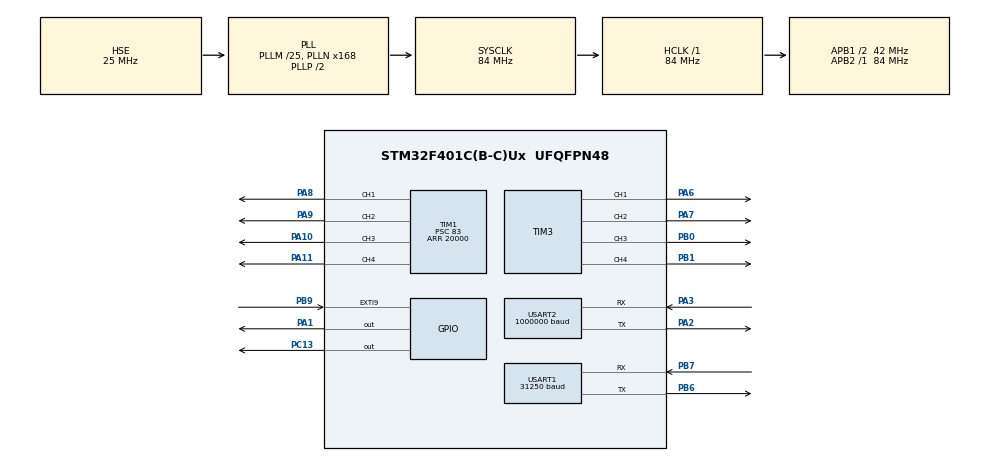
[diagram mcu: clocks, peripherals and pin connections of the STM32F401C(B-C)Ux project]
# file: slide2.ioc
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Mcu.Family=STM32F4
Mcu.Name=STM32F401C(B-C)Ux
Mcu.Package=UFQFPN48
NVIC.EXTI9_5_IRQn=true\:1\:0\:true\:false\:false\:true\:false
NVIC.PriorityGroup=NVIC_PRIORITYGROUP_4
NVIC.USART1_IRQn=true\:0\:0\:false\:false\:false\:true\:false
PA1.Signal=GPIO_Output
PA10.Signal=S_TIM1_CH3
PA11.Signal=S_TIM1_CH4
PA2.Mode=Asynchronous
PA2.Signal=USART2_TX
PA3.Mode=Asynchronous
PA3.Signal=USART2_RX
PA6.GPIO_ModeDefaultPP=GPIO_MODE_AF_PP
PA6.Signal=S_TIM3_CH1
PA7.GPIO_ModeDefaultPP=GPIO_MODE_AF_PP
PA7.Signal=S_TIM3_CH2
PA8.Signal=S_TIM1_CH1
PA9.Signal=S_TIM1_CH2
PB0.GPIO_ModeDefaultPP=GPIO_MODE_AF_PP
PB0.Signal=S_TIM3_CH3
PB1.GPIO_ModeDefaultPP=GPIO_MODE_AF_PP
PB1.Signal=S_TIM3_CH4
PB6.Mode=Asynchronous
PB6.Signal=USART1_TX
PB7.Mode=Asynchronous
PB7.Signal=USART1_RX
PB9.GPIO_ModeDefaultEXTI=GPIO_MODE_IT_FALLING
PB9.GPIO_PuPd=GPIO_PULLUP
PB9.Signal=GPXTI9
PC13-ANTI_TAMP.Signal=GPIO_Output
PH0\ -\ OSC_IN.Mode=HSE-External-Oscillator
PH0\ -\ OSC_IN.Signal=RCC_OSC_IN
PH1\ -\ OSC_OUT.Mode=HSE-External-Oscillator
PH1\ -\ OSC_OUT.Signal=RCC_OSC_OUT
ProjectManager.HeapSize=0x200
ProjectManager.StackSize=0x400
ProjectManager.TargetToolchain=STM32CubeIDE
RCC.48MHZClocksFreq_Value=42000000
RCC.AHBFreq_Value=84000000
RCC.APB1CLKDivider=RCC_HCLK_DIV2
RCC.APB1Freq_Value=42000000
RCC.APB1TimFreq_Value=84000000
RCC.APB2Freq_Value=84000000
RCC.APB2TimFreq_Value=84000000
RCC.CortexFreq_Value=84000000
RCC.HCLKFreq_Value=84000000
RCC.HSE_VALUE=25000000
RCC.HSI_VALUE=16000000
RCC.LSE_VALUE=32768
RCC.PLLM=25
RCC.PLLN=168
RCC.PLLSourceVirtual=RCC_PLLSOURCE_HSE
RCC.SYSCLKFreq_VALUE=84000000
RCC.SYSCLKSource=RCC_SYSCLKSOURCE_PLLCLK
RCC.VCOOutputFreq_Value=168000000
SH.S_TIM1_CH1.0=TIM1_CH1,PWM Generation1 CH1
SH.S_TIM1_CH2.0=TIM1_CH2,PWM Generation2 CH2
SH.S_TIM1_CH3.0=TIM1_CH3,PWM Generation3 CH3
SH.S_TIM1_CH4.0=TIM1_CH4,PWM Generation4 CH4
SH.S_TIM3_CH1.0=TIM3_CH1,PWM Generation1 CH1
SH.S_TIM3_CH2.0=TIM3_CH2,PWM Generation2 CH2
SH.S_TIM3_CH3.0=TIM3_CH3,PWM Generation3 CH3
SH.S_TIM3_CH4.0=TIM3_CH4,PWM Generation4 CH4
TIM1.Channel-PWM\ Generation1\ CH1=TIM_CHANNEL_1
TIM1.Channel-PWM\ Generation2\ CH2=TIM_CHANNEL_2
TIM1.Channel-PWM\ Generation3\ CH3=TIM_CHANNEL_3
TIM1.Channel-PWM\ Generation4\ CH4=TIM_CHANNEL_4
TIM1.Period=20000
TIM1.Prescaler=83
TIM3.Channel-PWM\ Generation1\ CH1=TIM_CHANNEL_1
TIM3.Channel-PWM\ Generation2\ CH2=TIM_CHANNEL_2
TIM3.Channel-PWM\ Generation3\ CH3=TIM_CHANNEL_3
TIM3.Channel-PWM\ Generation4\ CH4=TIM_CHANNEL_4
USART1.BaudRate=31250
USART1.Mode=MODE_RX
USART1.VirtualMode=VM_ASYNC
USART2.BaudRate=1000000
USART2.VirtualMode=VM_ASYNC
VP_TIM1_VS_ClockSourceINT.Mode=Internal
board=custom

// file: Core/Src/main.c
/* USER CODE BEGIN Header */
/**
  ******************************************************************************
  * @file           : main.c
  * @brief          : Main program body
  ******************************************************************************
  * @attention
  *
  * Copyright (c) 2022 STMicroelectronics.
  * All rights reserved.
  *
  * This software is licensed under terms that can be found in the LICENSE file
  * in the root directory of this software component.
  * If no LICENSE file comes with this software, it is provided AS-IS.
  *
  ******************************************************************************
  */
/* USER CODE END Header */
#include "main.h"

/* USER CODE BEGIN Includes */
#include "tables.h"
/* USER CODE END Includes */

TIM_HandleTypeDef htim1;
TIM_HandleTypeDef htim3;

UART_HandleTypeDef huart2;

/* USER CODE BEGIN PV */

uint8_t calibrateMode = 0;
uint8_t AX12_TorqueStatus = 0;
uint16_t poweroff_timeout = 0;

#define NOTESTACK_LENGTH 128
uint8_t notestack[4][NOTESTACK_LENGTH] = {};
uint8_t nsp[4] = {0};

uint8_t lastnote[4]={72,82,72,82};

int8_t bend[4] = {0};

// units of 10ms
#define FAN_WARMUP_TIME 50
#define FAN_BOOST_SPEED 1200
uint16_t fan_target[4]={0};
uint8_t fan_warmup[4]={0};

/* USER CODE END PV */

void SystemClock_Config(void);
static void MX_GPIO_Init(void);
static void MX_USART2_UART_Init(void);
static void MX_TIM1_Init(void);
static void MX_TIM3_Init(void);
static void MX_USART1_UART_Init(void);

/* USER CODE BEGIN 0 */

void hang_error(){
  while (1){
    HAL_Delay(200);
    HAL_GPIO_TogglePin(GPIOC, GPIO_PIN_13);
  }
}

void flash(){
  for (uint8_t i=0;i<10;i++) {
    HAL_GPIO_TogglePin(GPIOC, GPIO_PIN_13);
    HAL_Delay(100);
  }
}

/*
  MIDI Channels are zero-indexed, uint8_t chan will be zero-indexed
  Whistles are indexed from 1, uint8_t n is 1 to 4
  AX12 IDs are 1 to 8, e.g. whistle 3 is servos 5 and 6
*/

#define set_valve_servo(n, x) \
  htim1.Instance->CCR ## n = (x)

void set_valve_open(uint8_t chan) {
  if (chan==0)      set_valve_servo(1, valve_open[0]);
  else if (chan==1) set_valve_servo(2, valve_open[1]);
  else if (chan==2) set_valve_servo(3, valve_open[2]);
  else if (chan==3) set_valve_servo(4, valve_open[3]);
}

void set_valve_closed(uint8_t chan) {
  if (chan==0)      set_valve_servo(1, valve_closed[0]);
  else if (chan==1) set_valve_servo(2, valve_closed[1]);
  else if (chan==2) set_valve_servo(3, valve_closed[2]);
  else if (chan==3) set_valve_servo(4, valve_closed[3]);
}

#define _set_fan_speed(n, x) \
  htim3.Instance->CCR ## n = 5000 - (x)

#define enable_fan_motors() \
    HAL_GPIO_WritePin(GPIOA, GPIO_PIN_1, GPIO_PIN_SET)

#define disable_fan_motors() \
    HAL_GPIO_WritePin(GPIOA, GPIO_PIN_1, GPIO_PIN_RESET)

void set_fan_speed(uint8_t n, uint16_t x){

  //*(&(htim3.Instance->CCR1) +4*n) = 5000 - x;

  enable_fan_motors();

  if (n==1)      _set_fan_speed(1, x);
  else if (n==2) _set_fan_speed(2, x);
  else if (n==3) _set_fan_speed(3, x);
  else if (n==4) _set_fan_speed(4, x);
}

void fan_speed_warmup( uint8_t n, uint16_t x ) {

  uint8_t a=n-1;

  if (fan_target[a]+300 < x && fan_warmup[a]>=FAN_WARMUP_TIME) {
	  fan_warmup[a]-=FAN_WARMUP_TIME/2;
  }

  fan_target[a] = x;

  if (fan_warmup[a] < FAN_WARMUP_TIME) {
    set_fan_speed(n, FAN_BOOST_SPEED);
  } else {
    set_fan_speed(n, x);
  }

}

#define AX12_Transmit(a) _AX12_Transmit( a, sizeof(a)-1 )

void _AX12_Transmit(uint8_t * data, uint8_t length){

  uint8_t sum=0;
  for (uint8_t i=2; i<length; i++){
    sum += data[i];
  }
  data[length] = ~sum;
  HAL_UART_Transmit(&huart2, data, length+1, 100);
  //HAL_UART_Transmit(&huart2, data, length+1, 100);
}

void AX12_TorqueEnable(){
  uint8_t torqueEnable[] = { 0xFF, 0xFF, 0xFE, 0x04, 0x03, 0x18, 0x01, 0 };
  AX12_Transmit( torqueEnable );
  AX12_TorqueStatus=1;
}
void AX12_TorqueDisable(){
  uint8_t torqueEnable[] = { 0xFF, 0xFF, 0xFE, 0x04, 0x03, 0x18, 0x00, 0 };
  AX12_Transmit( torqueEnable );
  AX12_TorqueStatus=0;
}

void AX12_SetSlidePos(uint8_t id, uint16_t position){

  if (position > 0x330 || position < 0x230) return;//hang_error();
  if (!AX12_TorqueStatus) AX12_TorqueEnable();

  uint16_t antipos = 0x3FF - position;

  uint8_t setPosition[] = { 0xFF, 0xFF, 0xFE,
      0x0A, // Length
      0x83, // instruction sync write
      0x1E, // param 1
      0x02, // length of data
      id+1,
      position & 0xFF,
      position >> 8,
      id,
      antipos & 0xFF,
      antipos >> 8,
      0
  };

  AX12_Transmit(setPosition);
}

void setPitch(uint8_t chan, uint8_t note){

  if (note<69 || note >=89) return;

  //lookup in table
  uint16_t x = (note-67)*TABLE_SCALE + bend[chan];

  AX12_SetSlidePos( chan*2 +1 , 0x230 + mainLut[chan][ x ].angle );
  fan_speed_warmup( chan+1, mainLut[chan][ x ].speed );

}

void whistlePitchBend(uint8_t chan, uint8_t pb) {
  bend[chan] = pb-64;
  if (nsp[chan]>0) {
    setPitch(chan, notestack[chan][nsp[chan]-1]);
  }
}

void whistleNoteOn(uint8_t chan, uint8_t note) {

  if (nsp[chan]>=NOTESTACK_LENGTH) return;

  //push
  notestack[chan][nsp[chan]++] = note;
  lastnote[chan]=note;

  set_valve_open(chan);

  setPitch(chan, note);
  poweroff_timeout = 0;

}

void whistleNoteOff(uint8_t chan, uint8_t note) {

  // if note in notestack, remove it

  for (int i=nsp[chan]-1; i>=0; i--) {
    if (notestack[chan][i]==note) {
      for (uint8_t j=i; j<nsp[chan]; j++) {
        notestack[chan][j] = notestack[chan][j+1];
      }
      nsp[chan]--;
      //break;
    }
  }

  if (nsp[chan]>0) {
    setPitch(chan, notestack[chan][nsp[chan]-1]);
  } else {
    set_valve_closed(chan);

    // if all notes off, start timeout
    if (nsp[0]==0 && nsp[1]==0 && nsp[2]==0 && nsp[3]==0) {
      poweroff_timeout = 1000;
    }
  }

}

int abs(int x){
  return  (x<0) ? -x : x ;
}
#define isPlaying(chan) (nsp[chan]>0)

void autoNoteOn(uint8_t note, uint8_t vel) {
  if (note<69 || note >=89) return;

  uint8_t target =0;
  uint8_t lowestCost = 255;

  for (uint8_t chan=0; chan<4; chan++) {
    uint8_t cost = abs(lastnote[chan]-note);
    if (isPlaying(chan)) cost += 100;
    if (cost < lowestCost) {
      lowestCost = cost;
      target = chan;
    }
  }
  if (lowestCost<255) {
    whistleNoteOn(target, note);

    //turn all fans on
    if (fan_warmup[0] < FAN_WARMUP_TIME ) fan_speed_warmup( 1, mainLut[0][ 9*TABLE_SCALE ].speed );
    if (fan_warmup[1] < FAN_WARMUP_TIME ) fan_speed_warmup( 2, mainLut[1][ 9*TABLE_SCALE ].speed );
    if (fan_warmup[2] < FAN_WARMUP_TIME ) fan_speed_warmup( 3, mainLut[2][ 9*TABLE_SCALE ].speed );
    if (fan_warmup[3] < FAN_WARMUP_TIME ) fan_speed_warmup( 4, mainLut[3][ 9*TABLE_SCALE ].speed );
  }
}

uint8_t notestackContains(uint8_t chan, uint8_t note){
  for (int8_t i=0; i<nsp[chan]; i++) {
    if (notestack[chan][i] == note) return 1;
  }
  return 0;
}

void autoNoteOff(uint8_t note) {

  // do a first pass to turn off notes that are overridden
  for (uint8_t chan=0; chan<4; chan++) {
    if (isPlaying(chan)) {
      if (lastnote[chan] != note && notestackContains(chan, note)) {
        whistleNoteOff(chan, note);
        return;
      }
    }
  }

  for (uint8_t chan=0; chan<4; chan++) {
    if (isPlaying(chan) && lastnote[chan]==note) {
      whistleNoteOff(chan, note);
    }
  }
}

void noteOn(uint8_t chan, uint8_t note, uint8_t vel) {
  if (chan==4) {
    autoNoteOn(note, vel);
    return;
  }
  if (chan>4) return;

  whistleNoteOn(chan, note);
}

void noteOff(uint8_t chan, uint8_t note) {
  if (chan==4) {
    autoNoteOff(note);
    return;
  }
  if (chan>4) return;

  whistleNoteOff(chan, note);
}

void pitchBend(uint8_t chan, uint8_t pb) {
  if (chan==4) {
    whistlePitchBend(0, pb);
    whistlePitchBend(1, pb);
    whistlePitchBend(2, pb);
    whistlePitchBend(3, pb);
    return;
  }
  if (chan>4) return;

  whistlePitchBend(chan, pb);
}

void processMIDI(uint8_t i) {
  static uint8_t status=0;
  static uint8_t bytenumber=0;
  static uint8_t bytetwo =0;

  if (i==0xFF) NVIC_SystemReset();
  if (i>=0xF8) return; //system real-time

  if (i & 0x80) {
    status = i;
    bytenumber = 1;
  } else {
    uint8_t chan = status&0x0F;
    if (bytenumber == 1) {
      // check two-byte messages...
      // switch (status&0xF0){}

      bytetwo=i;
      bytenumber=2;
    } else if (bytenumber ==2) {
      switch (status&0xF0) {

      case 0x90: //Note on
        if (i == 0) noteOff(chan, bytetwo);
        else noteOn(chan, bytetwo, i);
        break;

      case 0x80: //Note off
        noteOff(chan, bytetwo);
        break;

      case 0xE0: //Pitch bend
        // bend = pbSensitivity * (((i<<7) + bytetwo) - 0x2000);

        // throw away low byte
        pitchBend( chan, i );
        break;

      }
      bytenumber = 1; //running status
    }
  }
}

void processCalByte(uint8_t i) {
  static uint8_t buf[32];
  static uint8_t p=0, sum=0;

  buf[p++]=i;
  if (buf[0]!=0xFF) {
    p=0;
    sum=0;
    return;
  }

  sum += i;
  if (p>=23) {
    if (buf[1]==0xAA && sum==0xFF){

      set_valve_servo( 1, (buf[2]<<8)+buf[3]);
      set_valve_servo( 2, (buf[4]<<8)+buf[5]);
      set_valve_servo( 3, (buf[6]<<8)+buf[7]);
      set_valve_servo( 4, (buf[8]<<8)+buf[9]);

      AX12_SetSlidePos( 1, 0x230 + buf[10] );
      AX12_SetSlidePos( 3, 0x230 + buf[11] );
      AX12_SetSlidePos( 5, 0x230 + buf[12] );
      AX12_SetSlidePos( 7, 0x230 + buf[13] );

      set_fan_speed(1, (buf[14]<<8)+buf[15]);
      set_fan_speed(2, (buf[16]<<8)+buf[17]);
      set_fan_speed(3, (buf[18]<<8)+buf[19]);
      set_fan_speed(4, (buf[20]<<8)+buf[21]);

      poweroff_timeout=1000;
    }
    p=0;
    sum=0;
  }

}

void USART1_IRQHandler(void) {
  uint8_t i = LL_USART_ReceiveData8(USART1);

  //HAL_GPIO_TogglePin(GPIOC, GPIO_PIN_13);
  //hang_error();

  if (calibrateMode) {
    processCalByte(i);
  } else {
    processMIDI(i);
  }

}

void EXTI9_5_IRQHandler(void)
{
  // MIDI panic / home servos

  HAL_GPIO_TogglePin(GPIOC, GPIO_PIN_13);

  // Turn off all fans, close valves, set servos to up-down-up-down pattern
  // zero all note memory
  nsp[0]=0;
  nsp[1]=0;
  nsp[2]=0;
  nsp[3]=0;

  fan_target[0]=0;
  fan_target[1]=0;
  fan_target[2]=0;
  fan_target[3]=0;

  _set_fan_speed(1, 0);
  _set_fan_speed(2, 0);
  _set_fan_speed(3, 0);
  _set_fan_speed(4, 0);

  set_valve_servo(1, valve_closed[0]);
  set_valve_servo(2, valve_closed[1]);
  set_valve_servo(3, valve_closed[2]);
  set_valve_servo(4, valve_closed[3]);

  AX12_SetSlidePos( 1, 0x230 + 45 );
  AX12_SetSlidePos( 3, 0x230 + 145 );
  AX12_SetSlidePos( 5, 0x230 + 45 );
  AX12_SetSlidePos( 7, 0x230 + 145 );

  lastnote[0] = 72;
  lastnote[0] = 82;
  lastnote[0] = 72;
  lastnote[0] = 82;

  while (!HAL_GPIO_ReadPin(GPIOB, GPIO_PIN_9)); // wait for release

  HAL_GPIO_TogglePin(GPIOC, GPIO_PIN_13);

  set_valve_servo(1, 0);
  set_valve_servo(2, 0);
  set_valve_servo(3, 0);
  set_valve_servo(4, 0);

  AX12_TorqueDisable();

  __HAL_GPIO_EXTI_CLEAR_IT(GPIO_PIN_9);

}

/* USER CODE END 0 */

int main(void)
{

  /* MCU Configuration--------------------------------------------------------*/

  /* Reset of all peripherals, Initializes the Flash interface and the Systick. */
  HAL_Init();

  /* Configure the system clock */
  SystemClock_Config();

  /* Initialize all configured peripherals */
  MX_GPIO_Init();
  MX_USART2_UART_Init();
  MX_TIM1_Init();
  MX_TIM3_Init();
  MX_USART1_UART_Init();
  /* USER CODE BEGIN 2 */

  LL_USART_EnableIT_RXNE(USART1);

  //uint8_t setID[] = { 0xFF, 0xFF, 0xFE, 0x04, 0x03, 0x03, id, 0 };
  //uint8_t ledOn[] = { 0xFF, 0xFF, id, 0x04, 0x03, 0x19, 0x01, 0 };

  // TIM1 for Servo PWM
  // Prescaler 83 -> 1MHz clock
  HAL_TIM_PWM_Start(&htim1, TIM_CHANNEL_1);
  HAL_TIM_PWM_Start(&htim1, TIM_CHANNEL_2);
  HAL_TIM_PWM_Start(&htim1, TIM_CHANNEL_3);
  HAL_TIM_PWM_Start(&htim1, TIM_CHANNEL_4);

  htim1.Instance->ARR = 10000;

  htim1.Instance->CCR1 = 0; // 1000 to 2000 ? For 1ms to 2ms
  htim1.Instance->CCR2 = 0;
  htim1.Instance->CCR3 = 0;
  htim1.Instance->CCR4 = 0;

  // TIM3 for Fan Motor PWM
  HAL_TIM_PWM_Start(&htim3, TIM_CHANNEL_1);
  HAL_TIM_PWM_Start(&htim3, TIM_CHANNEL_2);
  HAL_TIM_PWM_Start(&htim3, TIM_CHANNEL_3);
  HAL_TIM_PWM_Start(&htim3, TIM_CHANNEL_4);

  htim3.Instance->ARR = 5000;

  htim3.Instance->CCR1 = 5000; //PA6
  htim3.Instance->CCR2 = 5000; //PA7
  htim3.Instance->CCR3 = 5000; //PB0
  htim3.Instance->CCR4 = 5000; //PB1

  //AX12_TorqueEnable();

  disable_fan_motors();

  HAL_Delay(500); //Give debounce cap a chance to charge
  if (!HAL_GPIO_ReadPin(GPIOB, GPIO_PIN_9)) { // pulled high when not pressed
    calibrateMode = 1;
  }
  uint8_t calFlash=0;

  /* USER CODE END 2 */

  /* Infinite loop */
  while (1)
  {

    /* USER CODE BEGIN 3 */

    HAL_Delay(10);

    if (calibrateMode) {
      if (++calFlash == 10) {
        calFlash=0;
        HAL_GPIO_TogglePin(GPIOC, GPIO_PIN_13);
      }
    }

    for (uint8_t a=0; a<4; a++){
      if (fan_target[a]>0) {
        if (fan_warmup[a] < FAN_WARMUP_TIME) {
          fan_warmup[a]++;
        } else {
          set_fan_speed(a+1, fan_target[a]);
        }
      } else {
        if (fan_warmup[a]>0) fan_warmup[a]--;
      }
    }

    if (poweroff_timeout>0) {

      if (--poweroff_timeout==0) {

        disable_fan_motors();

        fan_target[0]=0;
        fan_target[1]=0;
        fan_target[2]=0;
        fan_target[3]=0;

        _set_fan_speed( 1, 0);
        _set_fan_speed( 2, 0);
        _set_fan_speed( 3, 0);
        _set_fan_speed( 4, 0);

        set_valve_servo( 1, 0);
        set_valve_servo( 2, 0);
        set_valve_servo( 3, 0);
        set_valve_servo( 4, 0);

        AX12_TorqueDisable();

      }
    }

  }
  /* USER CODE END 3 */
}

void SystemClock_Config(void)
{
  RCC_OscInitTypeDef RCC_OscInitStruct = {0};
  RCC_ClkInitTypeDef RCC_ClkInitStruct = {0};

  /** Configure the main internal regulator output voltage
  */
  __HAL_RCC_PWR_CLK_ENABLE();
  __HAL_PWR_VOLTAGESCALING_CONFIG(PWR_REGULATOR_VOLTAGE_SCALE2);
  /** Initializes the RCC Oscillators according to the specified parameters
  * in the RCC_OscInitTypeDef structure.
  */
  RCC_OscInitStruct.OscillatorType = RCC_OSCILLATORTYPE_HSE;
  RCC_OscInitStruct.HSEState = RCC_HSE_ON;
  RCC_OscInitStruct.PLL.PLLState = RCC_PLL_ON;
  RCC_OscInitStruct.PLL.PLLSource = RCC_PLLSOURCE_HSE;
  RCC_OscInitStruct.PLL.PLLM = 25;
  RCC_OscInitStruct.PLL.PLLN = 168;
  RCC_OscInitStruct.PLL.PLLP = RCC_PLLP_DIV2;
  RCC_OscInitStruct.PLL.PLLQ = 4;
  if (HAL_RCC_OscConfig(&RCC_OscInitStruct) != HAL_OK)
  {
    Error_Handler();
  }
  /** Initializes the CPU, AHB and APB buses clocks
  */
  RCC_ClkInitStruct.ClockType = RCC_CLOCKTYPE_HCLK|RCC_CLOCKTYPE_SYSCLK
                              |RCC_CLOCKTYPE_PCLK1|RCC_CLOCKTYPE_PCLK2;
  RCC_ClkInitStruct.SYSCLKSource = RCC_SYSCLKSOURCE_PLLCLK;
  RCC_ClkInitStruct.AHBCLKDivider = RCC_SYSCLK_DIV1;
  RCC_ClkInitStruct.APB1CLKDivider = RCC_HCLK_DIV2;
  RCC_ClkInitStruct.APB2CLKDivider = RCC_HCLK_DIV1;

  if (HAL_RCC_ClockConfig(&RCC_ClkInitStruct, FLASH_LATENCY_2) != HAL_OK)
  {
    Error_Handler();
  }
}

static void MX_TIM1_Init(void)
{

  TIM_ClockConfigTypeDef sClockSourceConfig = {0};
  TIM_MasterConfigTypeDef sMasterConfig = {0};
  TIM_OC_InitTypeDef sConfigOC = {0};
  TIM_BreakDeadTimeConfigTypeDef sBreakDeadTimeConfig = {0};

  htim1.Instance = TIM1;
  htim1.Init.Prescaler = 83;
  htim1.Init.CounterMode = TIM_COUNTERMODE_UP;
  htim1.Init.Period = 20000;
  htim1.Init.ClockDivision = TIM_CLOCKDIVISION_DIV1;
  htim1.Init.RepetitionCounter = 0;
  htim1.Init.AutoReloadPreload = TIM_AUTORELOAD_PRELOAD_DISABLE;
  if (HAL_TIM_Base_Init(&htim1) != HAL_OK)
  {
    Error_Handler();
  }
  sClockSourceConfig.ClockSource = TIM_CLOCKSOURCE_INTERNAL;
  if (HAL_TIM_ConfigClockSource(&htim1, &sClockSourceConfig) != HAL_OK)
  {
    Error_Handler();
  }
  if (HAL_TIM_PWM_Init(&htim1) != HAL_OK)
  {
    Error_Handler();
  }
  sMasterConfig.MasterOutputTrigger = TIM_TRGO_RESET;
  sMasterConfig.MasterSlaveMode = TIM_MASTERSLAVEMODE_DISABLE;
  if (HAL_TIMEx_MasterConfigSynchronization(&htim1, &sMasterConfig) != HAL_OK)
  {
    Error_Handler();
  }
  sConfigOC.OCMode = TIM_OCMODE_PWM1;
  sConfigOC.Pulse = 0;
  sConfigOC.OCPolarity = TIM_OCPOLARITY_HIGH;
  sConfigOC.OCNPolarity = TIM_OCNPOLARITY_HIGH;
  sConfigOC.OCFastMode = TIM_OCFAST_DISABLE;
  sConfigOC.OCIdleState = TIM_OCIDLESTATE_RESET;
  sConfigOC.OCNIdleState = TIM_OCNIDLESTATE_RESET;
  if (HAL_TIM_PWM_ConfigChannel(&htim1, &sConfigOC, TIM_CHANNEL_1) != HAL_OK)
  {
    Error_Handler();
  }
  if (HAL_TIM_PWM_ConfigChannel(&htim1, &sConfigOC, TIM_CHANNEL_2) != HAL_OK)
  {
    Error_Handler();
  }
  if (HAL_TIM_PWM_ConfigChannel(&htim1, &sConfigOC, TIM_CHANNEL_3) != HAL_OK)
  {
    Error_Handler();
  }
  if (HAL_TIM_PWM_ConfigChannel(&htim1, &sConfigOC, TIM_CHANNEL_4) != HAL_OK)
  {
    Error_Handler();
  }
  sBreakDeadTimeConfig.OffStateRunMode = TIM_OSSR_DISABLE;
  sBreakDeadTimeConfig.OffStateIDLEMode = TIM_OSSI_DISABLE;
  sBreakDeadTimeConfig.LockLevel = TIM_LOCKLEVEL_OFF;
  sBreakDeadTimeConfig.DeadTime = 0;
  sBreakDeadTimeConfig.BreakState = TIM_BREAK_DISABLE;
  sBreakDeadTimeConfig.BreakPolarity = TIM_BREAKPOLARITY_HIGH;
  sBreakDeadTimeConfig.AutomaticOutput = TIM_AUTOMATICOUTPUT_DISABLE;
  if (HAL_TIMEx_ConfigBreakDeadTime(&htim1, &sBreakDeadTimeConfig) != HAL_OK)
  {
    Error_Handler();
  }
  HAL_TIM_MspPostInit(&htim1);

}

static void MX_TIM3_Init(void)
{

  TIM_MasterConfigTypeDef sMasterConfig = {0};
  TIM_OC_InitTypeDef sConfigOC = {0};

  htim3.Instance = TIM3;
  htim3.Init.Prescaler = 0;
  htim3.Init.CounterMode = TIM_COUNTERMODE_UP;
  htim3.Init.Period = 65535;
  htim3.Init.ClockDivision = TIM_CLOCKDIVISION_DIV1;
  htim3.Init.AutoReloadPreload = TIM_AUTORELOAD_PRELOAD_DISABLE;
  if (HAL_TIM_PWM_Init(&htim3) != HAL_OK)
  {
    Error_Handler();
  }
  sMasterConfig.MasterOutputTrigger = TIM_TRGO_RESET;
  sMasterConfig.MasterSlaveMode = TIM_MASTERSLAVEMODE_DISABLE;
  if (HAL_TIMEx_MasterConfigSynchronization(&htim3, &sMasterConfig) != HAL_OK)
  {
    Error_Handler();
  }
  sConfigOC.OCMode = TIM_OCMODE_PWM1;
  sConfigOC.Pulse = 0;
  sConfigOC.OCPolarity = TIM_OCPOLARITY_HIGH;
  sConfigOC.OCFastMode = TIM_OCFAST_DISABLE;
  if (HAL_TIM_PWM_ConfigChannel(&htim3, &sConfigOC, TIM_CHANNEL_1) != HAL_OK)
  {
    Error_Handler();
  }
  if (HAL_TIM_PWM_ConfigChannel(&htim3, &sConfigOC, TIM_CHANNEL_2) != HAL_OK)
  {
    Error_Handler();
  }
  if (HAL_TIM_PWM_ConfigChannel(&htim3, &sConfigOC, TIM_CHANNEL_3) != HAL_OK)
  {
    Error_Handler();
  }
  if (HAL_TIM_PWM_ConfigChannel(&htim3, &sConfigOC, TIM_CHANNEL_4) != HAL_OK)
  {
    Error_Handler();
  }
  HAL_TIM_MspPostInit(&htim3);

}

static void MX_USART1_UART_Init(void)
{

  LL_USART_InitTypeDef USART_InitStruct = {0};

  LL_GPIO_InitTypeDef GPIO_InitStruct = {0};

  /* Peripheral clock enable */
  LL_APB2_GRP1_EnableClock(LL_APB2_GRP1_PERIPH_USART1);

  LL_AHB1_GRP1_EnableClock(LL_AHB1_GRP1_PERIPH_GPIOB);
  /**USART1 GPIO Configuration
  PB6   ------> USART1_TX
  PB7   ------> USART1_RX
  */
  GPIO_InitStruct.Pin = LL_GPIO_PIN_6|LL_GPIO_PIN_7;
  GPIO_InitStruct.Mode = LL_GPIO_MODE_ALTERNATE;
  GPIO_InitStruct.Speed = LL_GPIO_SPEED_FREQ_VERY_HIGH;
  GPIO_InitStruct.OutputType = LL_GPIO_OUTPUT_PUSHPULL;
  GPIO_InitStruct.Pull = LL_GPIO_PULL_NO;
  GPIO_InitStruct.Alternate = LL_GPIO_AF_7;
  LL_GPIO_Init(GPIOB, &GPIO_InitStruct);

  /* USART1 interrupt Init */
  NVIC_SetPriority(USART1_IRQn, NVIC_EncodePriority(NVIC_GetPriorityGrouping(),0, 0));
  NVIC_EnableIRQ(USART1_IRQn);

  USART_InitStruct.BaudRate = 31250;
  USART_InitStruct.DataWidth = LL_USART_DATAWIDTH_8B;
  USART_InitStruct.StopBits = LL_USART_STOPBITS_1;
  USART_InitStruct.Parity = LL_USART_PARITY_NONE;
  USART_InitStruct.TransferDirection = LL_USART_DIRECTION_RX;
  USART_InitStruct.HardwareFlowControl = LL_USART_HWCONTROL_NONE;
  USART_InitStruct.OverSampling = LL_USART_OVERSAMPLING_16;
  LL_USART_Init(USART1, &USART_InitStruct);
  LL_USART_ConfigAsyncMode(USART1);
  LL_USART_Enable(USART1);

}

static void MX_USART2_UART_Init(void)
{

  huart2.Instance = USART2;
  huart2.Init.BaudRate = 1000000;
  huart2.Init.WordLength = UART_WORDLENGTH_8B;
  huart2.Init.StopBits = UART_STOPBITS_1;
  huart2.Init.Parity = UART_PARITY_NONE;
  huart2.Init.Mode = UART_MODE_TX_RX;
  huart2.Init.HwFlowCtl = UART_HWCONTROL_NONE;
  huart2.Init.OverSampling = UART_OVERSAMPLING_16;
  if (HAL_UART_Init(&huart2) != HAL_OK)
  {
    Error_Handler();
  }

}

static void MX_GPIO_Init(void)
{
  GPIO_InitTypeDef GPIO_InitStruct = {0};

  /* GPIO Ports Clock Enable */
  __HAL_RCC_GPIOC_CLK_ENABLE();
  __HAL_RCC_GPIOH_CLK_ENABLE();
  __HAL_RCC_GPIOA_CLK_ENABLE();
  __HAL_RCC_GPIOB_CLK_ENABLE();

  /*Configure GPIO pin Output Level */
  HAL_GPIO_WritePin(GPIOC, GPIO_PIN_13, GPIO_PIN_RESET);

  /*Configure GPIO pin Output Level */
  HAL_GPIO_WritePin(GPIOA, GPIO_PIN_1, GPIO_PIN_RESET);

  /*Configure GPIO pin : PC13 */
  GPIO_InitStruct.Pin = GPIO_PIN_13;
  GPIO_InitStruct.Mode = GPIO_MODE_OUTPUT_PP;
  GPIO_InitStruct.Pull = GPIO_NOPULL;
  GPIO_InitStruct.Speed = GPIO_SPEED_FREQ_LOW;
  HAL_GPIO_Init(GPIOC, &GPIO_InitStruct);

  /*Configure GPIO pin : PA1 */
  GPIO_InitStruct.Pin = GPIO_PIN_1;
  GPIO_InitStruct.Mode = GPIO_MODE_OUTPUT_PP;
  GPIO_InitStruct.Pull = GPIO_NOPULL;
  GPIO_InitStruct.Speed = GPIO_SPEED_FREQ_LOW;
  HAL_GPIO_Init(GPIOA, &GPIO_InitStruct);

  /*Configure GPIO pin : PB9 */
  GPIO_InitStruct.Pin = GPIO_PIN_9;
  GPIO_InitStruct.Mode = GPIO_MODE_IT_FALLING;
  GPIO_InitStruct.Pull = GPIO_PULLUP;
  HAL_GPIO_Init(GPIOB, &GPIO_InitStruct);

  /* EXTI interrupt init*/
  HAL_NVIC_SetPriority(EXTI9_5_IRQn, 1, 0);
  HAL_NVIC_EnableIRQ(EXTI9_5_IRQn);

}

void Error_Handler(void)
{
  __disable_irq();
  while (1)
  {
  }
}
